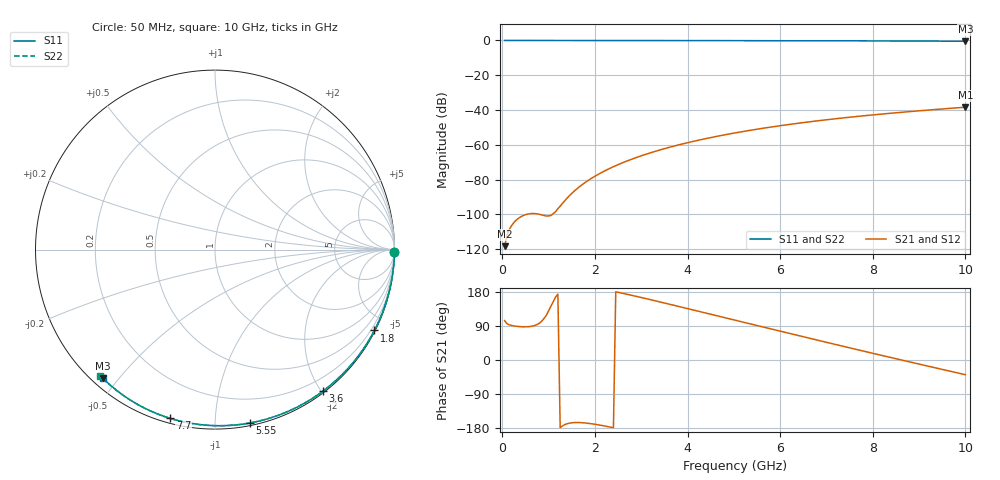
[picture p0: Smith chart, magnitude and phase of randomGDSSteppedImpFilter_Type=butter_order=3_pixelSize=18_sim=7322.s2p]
! freq	dB(S11)	phase(S11)	dB(S12)	phase(S12)
!  dB(S21)	phase(S21)	dB(S22)	phase(S22)
!S-par simulation data
#  GHz  S  DB  R 50
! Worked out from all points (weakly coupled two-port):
!   200 points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, 50 MHz to 10 GHz, reference 50 ohm
!   highest |S21| = -38.37 dB at 10 GHz (marker M1); lowest = -118.3 dB at 50 MHz (marker M2)
!   lowest |S11| = -0.4 dB at 10 GHz (marker M3), VSWR 39.34, Z = 1.53 - j22.7 ohm
!   |S11| at or under -10 dB: nowhere
!   |S22| runs from -0.4 to 0.0 dB; largest |S21 - S12| = 0
!   S11 on the Smith chart (normalised r, x): 50 MHz: open; 1.8 GHz: 0.04, -4.18; 3.6 GHz: 0.02, -2.02; 5.55 GHz: 0.02, -1.22; 7.7 GHz: 0.02, -0.77; 10 GHz: 0.03, -0.45
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0.05  -0.00 -0.8  -118.30 103.8  -118.30 103.8  -0.00 -0.8
0.9  -0.02 -13.6  -100.69 109.5  -100.69 109.5  -0.02 -13.7
1.75  -0.03 -26.1  -82.42 -165.7  -82.42 -165.7  -0.03 -26.3
1.8  -0.03 -26.9  -81.47 -166.3  -81.47 -166.3  -0.03 -27.1
1.85  -0.04 -27.6  -80.57 -167.0  -80.57 -167.0  -0.04 -27.8
1.9  -0.04 -28.3  -79.71 -167.8  -79.71 -167.8  -0.04 -28.6
2.05  -0.04 -30.5  -77.31 -170.6  -77.31 -170.6  -0.04 -30.8
2.25  -0.04 -33.4  -74.49 -175.1  -74.49 -175.1  -0.04 -33.7
2.45  -0.05 -36.3  -71.99 179.9  -71.99 179.9  -0.05 -36.6
2.65  -0.05 -39.2  -69.76 174.7  -69.76 174.7  -0.05 -39.5
3  -0.06 -44.2  -66.33 164.9  -66.33 164.9  -0.06 -44.5
3.4  -0.07 -49.8  -62.99 153.4  -62.99 153.4  -0.07 -50.2
3.6  -0.07 -52.6  -61.49 147.5  -61.49 147.5  -0.07 -53.0
4.3  -0.09 -62.1  -56.98 126.7  -56.98 126.7  -0.09 -62.6
5.05  -0.11 -72.1  -53.05 104.4  -53.05 104.4  -0.11 -72.6
5.55  -0.13 -78.5  -50.82 89.5  -50.82 89.5  -0.13 -79.1
6.1  -0.15 -85.5  -48.65 73.2  -48.65 73.2  -0.15 -86.1
6.7  -0.18 -92.9  -46.56 55.5  -46.56 55.5  -0.18 -93.6
7.7  -0.24 -104.9  -43.59 26.3  -43.59 26.3  -0.24 -105.7
8.35  -0.29 -112.4  -41.94 7.6  -41.94 7.6  -0.29 -113.3
9.15  -0.36 -121.6  -40.13 -15.0  -40.13 -15.0  -0.36 -122.6
10  -0.44 -131.2  -38.37 -38.8  -38.37 -38.8  -0.45 -132.3
